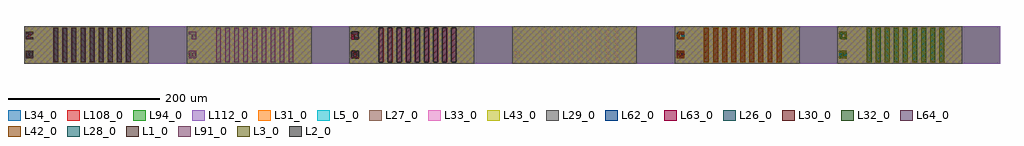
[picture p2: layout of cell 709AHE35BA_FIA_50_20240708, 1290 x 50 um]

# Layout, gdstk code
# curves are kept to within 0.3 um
from math import pi, radians
import gdstk
lib = gdstk.Library(unit=1e-6, precision=1e-09)
def R(c, l, rs):  # rectangles x0, y0, x1, y1
    for r in rs: c.add(gdstk.rectangle(r[:2], r[2:], *l))
def A(c, l, x, y, w, h, nx, ny, dx, dy):  # array of equal rectangles
    R(c, l, [(x+i*dx, y+j*dy, x+i*dx+w, y+j*dy+h) for i in range(nx) for j in range(ny)])
def P(c, l, *ps):  # polygons
    for p in ps: c.add(gdstk.Polygon(p, *l))
L1_0 = (1, 0)
L2_0 = (2, 0)
L3_0 = (3, 0)
L5_0 = (5, 0)
L26_0 = (26, 0)
L27_0 = (27, 0)
L28_0 = (28, 0)
L29_0 = (29, 0)
L30_0 = (30, 0)
L31_0 = (31, 0)
L32_0 = (32, 0)
L33_0 = (33, 0)
L34_0 = (34, 0)
L42_0 = (42, 0)
L43_0 = (43, 0)
L62_0 = (62, 0)
L63_0 = (63, 0)
L64_0 = (64, 0)
L91_0 = (91, 0)
L94_0 = (94, 0)
L108_0 = (108, 0)
L112_0 = (112, 0)

fia_150_50_6_0_45_0_t_1_ = lib.new_cell('FIA_150_50_6_0_45_0_T_1_T')
A(fia_150_50_6_0_45_0_t_1_, L1_0, 39, 2.5, 6, 45, 9, 1, 12, 0)
R(fia_150_50_6_0_45_0_t_1_, L5_0, [(15,0,165,50)])
R(fia_150_50_6_0_45_0_t_1_, L27_0, [(15,0,165,50)])
R(fia_150_50_6_0_45_0_t_1_, L29_0, [(15,0,165,50)])
R(fia_150_50_6_0_45_0_t_1_, L31_0, [(15,0,165,50)])
R(fia_150_50_6_0_45_0_t_1_, L33_0, [(15,0,165,50)])
R(fia_150_50_6_0_45_0_t_1_, L34_0, [(15,0,215,50)])
R(fia_150_50_6_0_45_0_t_1_, L43_0, [(15,0,165,50)])
R(fia_150_50_6_0_45_0_t_1_, L94_0, [(15,0,215,50)])
R(fia_150_50_6_0_45_0_t_1_, L108_0, [(15,0,215,50)])
R(fia_150_50_6_0_45_0_t_1_, L112_0, [(15,0,215,50)])

c_fia_150_50_6_0_45_0_t_1_ = lib.new_cell('FIA_150_50_6_0_45_0_T_1_name')
P(c_fia_150_50_6_0_45_0_t_1_, L1_0, [(10,8.5),(15,2.5),(17.5,2.5),(17.5,12.5),(15,12.5),(15,6.5),(10,12.5),(7.5,12.5),(7.5,2.5),(10,2.5)],
  [(41.5,2.5),(42.5,3.5),(42.5,6.5),(41.5,7.5),(42.5,8.5),(42.5,11.5),(41.5,12.5),(32.5,12.5),(32.5,8.5),(35,8.5),(35,10.5),(40,10.5),(40,8.5),(32.5,8.5),(32.5,4.5),(35,4.5),(35,6.5),(40,6.5),(40,4.5),(32.5,4.5),(32.5,2.5)])
R(c_fia_150_50_6_0_45_0_t_1_, L5_0, [(0,0,50,15)])
R(c_fia_150_50_6_0_45_0_t_1_, L27_0, [(0,0,50,15)])
R(c_fia_150_50_6_0_45_0_t_1_, L29_0, [(0,0,50,15)])
R(c_fia_150_50_6_0_45_0_t_1_, L31_0, [(0,0,50,15)])
R(c_fia_150_50_6_0_45_0_t_1_, L33_0, [(0,0,50,15)])
R(c_fia_150_50_6_0_45_0_t_1_, L34_0, [(0,0,50,15)])
R(c_fia_150_50_6_0_45_0_t_1_, L43_0, [(0,0,50,15)])
R(c_fia_150_50_6_0_45_0_t_1_, L94_0, [(0,0,50,15)])
R(c_fia_150_50_6_0_45_0_t_1_, L108_0, [(0,0,50,15)])
R(c_fia_150_50_6_0_45_0_t_1_, L112_0, [(0,0,50,15)])

fia_150_50_6_6_45_0_t_62 = lib.new_cell('FIA_150_50_6_6_45_0_T_62_T')
R(fia_150_50_6_6_45_0_t_62, L5_0, [(15,0,165,50)])
R(fia_150_50_6_6_45_0_t_62, L27_0, [(15,0,165,50)])
R(fia_150_50_6_6_45_0_t_62, L29_0, [(15,0,165,50)])
R(fia_150_50_6_6_45_0_t_62, L31_0, [(15,0,165,50)])
R(fia_150_50_6_6_45_0_t_62, L33_0, [(15,0,165,50)])
R(fia_150_50_6_6_45_0_t_62, L34_0, [(15,0,215,50)])
R(fia_150_50_6_6_45_0_t_62, L43_0, [(15,0,165,50)])
A(fia_150_50_6_6_45_0_t_62, L62_0, 38.7, 2.5, 6.6, 45, 9, 1, 12, 0)
R(fia_150_50_6_6_45_0_t_62, L94_0, [(15,0,215,50)])
R(fia_150_50_6_6_45_0_t_62, L108_0, [(15,0,215,50)])
R(fia_150_50_6_6_45_0_t_62, L112_0, [(15,0,215,50)])

c_fia_150_50_6_6_45_0_t_62 = lib.new_cell('FIA_150_50_6_6_45_0_T_62_name')
R(c_fia_150_50_6_6_45_0_t_62, L5_0, [(0,0,50,15)])
R(c_fia_150_50_6_6_45_0_t_62, L27_0, [(0,0,50,15)])
R(c_fia_150_50_6_6_45_0_t_62, L29_0, [(0,0,50,15)])
R(c_fia_150_50_6_6_45_0_t_62, L31_0, [(0,0,50,15)])
R(c_fia_150_50_6_6_45_0_t_62, L33_0, [(0,0,50,15)])
R(c_fia_150_50_6_6_45_0_t_62, L34_0, [(0,0,50,15)])
R(c_fia_150_50_6_6_45_0_t_62, L43_0, [(0,0,50,15)])
P(c_fia_150_50_6_6_45_0_t_62, L62_0, [(17.5,12.5),(14.5,12.5),(14.5,5.5),(10.5,5.5),(10.5,12.5),(7.5,12.5),(7.5,2.5),(17.5,2.5)],
  [(42.5,5),(35.5,5),(35.5,6.3),(42.5,6.3),(42.5,12.5),(32.5,12.5),(32.5,10),(39.5,10),(39.5,8.8),(32.5,8.8),(32.5,2.5),(42.5,2.5)])
R(c_fia_150_50_6_6_45_0_t_62, L94_0, [(0,0,50,15)])
R(c_fia_150_50_6_6_45_0_t_62, L108_0, [(0,0,50,15)])
R(c_fia_150_50_6_6_45_0_t_62, L112_0, [(0,0,50,15)])

fia_150_50_6_6_45_0_t_64 = lib.new_cell('FIA_150_50_6_6_45_0_T_64_T')
R(fia_150_50_6_6_45_0_t_64, L5_0, [(15,0,165,50)])
R(fia_150_50_6_6_45_0_t_64, L27_0, [(15,0,165,50)])
R(fia_150_50_6_6_45_0_t_64, L29_0, [(15,0,165,50)])
R(fia_150_50_6_6_45_0_t_64, L31_0, [(15,0,165,50)])
R(fia_150_50_6_6_45_0_t_64, L33_0, [(15,0,165,50)])
R(fia_150_50_6_6_45_0_t_64, L34_0, [(15,0,215,50)])
R(fia_150_50_6_6_45_0_t_64, L43_0, [(15,0,165,50)])
A(fia_150_50_6_6_45_0_t_64, L64_0, 38.7, 2.5, 6.6, 45, 9, 1, 12, 0)
R(fia_150_50_6_6_45_0_t_64, L94_0, [(15,0,215,50)])
R(fia_150_50_6_6_45_0_t_64, L108_0, [(15,0,215,50)])
R(fia_150_50_6_6_45_0_t_64, L112_0, [(15,0,215,50)])

c_fia_150_50_6_6_45_0_t_64 = lib.new_cell('FIA_150_50_6_6_45_0_T_64_name')
R(c_fia_150_50_6_6_45_0_t_64, L5_0, [(0,0,50,15)])
R(c_fia_150_50_6_6_45_0_t_64, L27_0, [(0,0,50,15)])
R(c_fia_150_50_6_6_45_0_t_64, L29_0, [(0,0,50,15)])
R(c_fia_150_50_6_6_45_0_t_64, L31_0, [(0,0,50,15)])
R(c_fia_150_50_6_6_45_0_t_64, L33_0, [(0,0,50,15)])
R(c_fia_150_50_6_6_45_0_t_64, L34_0, [(0,0,50,15)])
R(c_fia_150_50_6_6_45_0_t_64, L43_0, [(0,0,50,15)])
P(c_fia_150_50_6_6_45_0_t_64, L64_0, [(17.5,12.5),(14.5,12.5),(14.5,5.5),(10.5,5.5),(10.5,12.5),(7.5,12.5),(7.5,2.5),(17.5,2.5)],
  [(42.5,12.5),(39.5,12.5),(39.5,8.5),(35.5,8.5),(35.5,12.5),(32.5,12.5),(32.5,5.5),(39.5,5.5),(39.5,2.5),(42.5,2.5)])
R(c_fia_150_50_6_6_45_0_t_64, L94_0, [(0,0,50,15)])
R(c_fia_150_50_6_6_45_0_t_64, L108_0, [(0,0,50,15)])
R(c_fia_150_50_6_6_45_0_t_64, L112_0, [(0,0,50,15)])

fia_150_50_6_0_45_0_t_91 = lib.new_cell('FIA_150_50_6_0_45_0_T_91_T')
R(fia_150_50_6_0_45_0_t_91, L5_0, [(15,0,165,50)])
R(fia_150_50_6_0_45_0_t_91, L29_0, [(15,0,165,50)])
R(fia_150_50_6_0_45_0_t_91, L31_0, [(15,0,165,50)])
R(fia_150_50_6_0_45_0_t_91, L34_0, [(15,0,215,50)])
R(fia_150_50_6_0_45_0_t_91, L43_0, [(15,0,165,50)])
A(fia_150_50_6_0_45_0_t_91, L91_0, 39, 2.5, 6, 45, 9, 1, 12, 0)
R(fia_150_50_6_0_45_0_t_91, L94_0, [(15,0,215,50)])
R(fia_150_50_6_0_45_0_t_91, L108_0, [(15,0,215,50)])
R(fia_150_50_6_0_45_0_t_91, L112_0, [(15,0,215,50)])

c_fia_150_50_6_0_45_0_t_91 = lib.new_cell('FIA_150_50_6_0_45_0_T_91_name')
R(c_fia_150_50_6_0_45_0_t_91, L5_0, [(0,0,50,15)])
R(c_fia_150_50_6_0_45_0_t_91, L29_0, [(0,0,50,15)])
R(c_fia_150_50_6_0_45_0_t_91, L31_0, [(0,0,50,15)])
R(c_fia_150_50_6_0_45_0_t_91, L34_0, [(0,0,50,15)])
R(c_fia_150_50_6_0_45_0_t_91, L43_0, [(0,0,50,15)])
P(c_fia_150_50_6_0_45_0_t_91, L91_0, [(10.5,2.5),(10.5,6.5),(17.5,6.5),(17.5,12.5),(7.5,12.5),(7.5,9),(10.5,9),(10.5,10),(15,10),(15,9),(10.5,9),(7.5,9),(7.5,2.5)],
  [(41.5,2.5),(42.5,3.5),(42.5,6.5),(41.5,7.5),(42.5,8.5),(42.5,11.5),(41.5,12.5),(32.5,12.5),(32.5,8.5),(35,8.5),(35,10.5),(40,10.5),(40,8.5),(32.5,8.5),(32.5,4.5),(35,4.5),(35,6.5),(40,6.5),(40,4.5),(32.5,4.5),(32.5,2.5)])
R(c_fia_150_50_6_0_45_0_t_91, L94_0, [(0,0,50,15)])
R(c_fia_150_50_6_0_45_0_t_91, L108_0, [(0,0,50,15)])
R(c_fia_150_50_6_0_45_0_t_91, L112_0, [(0,0,50,15)])

fia_150_50_6_0_45_0_m_27 = lib.new_cell('FIA_150_50_6_0_45_0_M_27_M')
R(fia_150_50_6_0_45_0_m_27, L5_0, [(15,0,165,50)])
P(fia_150_50_6_0_45_0_m_27, L27_0, [(165,50),(15,50),(15,2.5),(39,2.5),(39,47.5),(45,47.5),(45,2.5),(51,2.5),(51,47.5),(57,47.5),(57,2.5),(63,2.5),(63,47.5),(69,47.5),(69,2.5),(75,2.5),(75,47.5),(81,47.5),(81,2.5),(87,2.5),(87,47.5),(93,47.5),(93,2.5),(99,2.5),(99,47.5),(105,47.5),(105,2.5),(111,2.5),(111,47.5),(117,47.5),(117,2.5),(123,2.5),(123,47.5),(129,47.5),(129,2.5),(135,2.5),(135,47.5),(141,47.5),(141,2.5),(135,2.5),(129,2.5),(123,2.5),(117,2.5),(111,2.5),(105,2.5),(99,2.5),(93,2.5),(87,2.5),(81,2.5),(75,2.5),(69,2.5),(63,2.5),(57,2.5),(51,2.5),(45,2.5),(39,2.5),(15,2.5),(15,0),(165,0)])
R(fia_150_50_6_0_45_0_m_27, L29_0, [(15,0,165,50)])
R(fia_150_50_6_0_45_0_m_27, L31_0, [(15,0,165,50)])
R(fia_150_50_6_0_45_0_m_27, L34_0, [(15,0,215,50)])
R(fia_150_50_6_0_45_0_m_27, L43_0, [(15,0,165,50)])
R(fia_150_50_6_0_45_0_m_27, L94_0, [(15,0,215,50)])
R(fia_150_50_6_0_45_0_m_27, L108_0, [(15,0,215,50)])
R(fia_150_50_6_0_45_0_m_27, L112_0, [(15,0,215,50)])

c_fia_150_50_6_0_45_0_m_27 = lib.new_cell('FIA_150_50_6_0_45_0_M_27_name')
R(c_fia_150_50_6_0_45_0_m_27, L5_0, [(0,0,50,15)])
P(c_fia_150_50_6_0_45_0_m_27, L27_0, [(50,15),(0,15),(0,2.5),(7.5,2.5),(7.5,12.5),(10,12.5),(12.5,10),(15,12.5),(17.5,12.5),(17.5,2.5),(33.5,2.5),(33.5,5),(36.5,5),(36.5,9.5),(34.5,9.5),(34.5,11.5),(36.5,11.5),(36.5,12.5),(39.5,12.5),(39.5,5),(41.5,5),(41.5,2.5),(15,2.5),(15,9),(12.5,6.5),(10,9),(10,2.5),(0,2.5),(0,0),(50,0)])
R(c_fia_150_50_6_0_45_0_m_27, L29_0, [(0,0,50,15)])
R(c_fia_150_50_6_0_45_0_m_27, L31_0, [(0,0,50,15)])
R(c_fia_150_50_6_0_45_0_m_27, L34_0, [(0,0,50,15)])
R(c_fia_150_50_6_0_45_0_m_27, L43_0, [(0,0,50,15)])
R(c_fia_150_50_6_0_45_0_m_27, L94_0, [(0,0,50,15)])
R(c_fia_150_50_6_0_45_0_m_27, L108_0, [(0,0,50,15)])
R(c_fia_150_50_6_0_45_0_m_27, L112_0, [(0,0,50,15)])

fia_150_50_6_0_45_0_m_33 = lib.new_cell('FIA_150_50_6_0_45_0_M_33_M')
R(fia_150_50_6_0_45_0_m_33, L5_0, [(15,0,165,50)])
R(fia_150_50_6_0_45_0_m_33, L29_0, [(15,0,165,50)])
R(fia_150_50_6_0_45_0_m_33, L31_0, [(15,0,165,50)])
P(fia_150_50_6_0_45_0_m_33, L33_0, [(165,50),(15,50),(15,2.5),(39,2.5),(39,47.5),(45,47.5),(45,2.5),(51,2.5),(51,47.5),(57,47.5),(57,2.5),(63,2.5),(63,47.5),(69,47.5),(69,2.5),(75,2.5),(75,47.5),(81,47.5),(81,2.5),(87,2.5),(87,47.5),(93,47.5),(93,2.5),(99,2.5),(99,47.5),(105,47.5),(105,2.5),(111,2.5),(111,47.5),(117,47.5),(117,2.5),(123,2.5),(123,47.5),(129,47.5),(129,2.5),(135,2.5),(135,47.5),(141,47.5),(141,2.5),(135,2.5),(129,2.5),(123,2.5),(117,2.5),(111,2.5),(105,2.5),(99,2.5),(93,2.5),(87,2.5),(81,2.5),(75,2.5),(69,2.5),(63,2.5),(57,2.5),(51,2.5),(45,2.5),(39,2.5),(15,2.5),(15,0),(165,0)])
R(fia_150_50_6_0_45_0_m_33, L34_0, [(15,0,215,50)])
R(fia_150_50_6_0_45_0_m_33, L43_0, [(15,0,165,50)])
R(fia_150_50_6_0_45_0_m_33, L94_0, [(15,0,215,50)])
R(fia_150_50_6_0_45_0_m_33, L108_0, [(15,0,215,50)])
R(fia_150_50_6_0_45_0_m_33, L112_0, [(15,0,215,50)])

c_fia_150_50_6_0_45_0_m_33 = lib.new_cell('FIA_150_50_6_0_45_0_M_33_name')
R(c_fia_150_50_6_0_45_0_m_33, L5_0, [(0,0,50,15)])
R(c_fia_150_50_6_0_45_0_m_33, L29_0, [(0,0,50,15)])
R(c_fia_150_50_6_0_45_0_m_33, L31_0, [(0,0,50,15)])
P(c_fia_150_50_6_0_45_0_m_33, L33_0, [(50,15),(0,15),(0,2.5),(7.5,2.5),(7.5,12.5),(10,12.5),(12.5,10),(15,12.5),(17.5,12.5),(17.5,5.5),(32.5,5.5),(32.5,12.5),(35.5,12.5),(35.5,8.5),(39.5,8.5),(39.5,12.5),(42.5,12.5),(42.5,2.5),(39.5,2.5),(39.5,5.5),(17.5,5.5),(17.5,2.5),(15,2.5),(15,9),(12.5,6.5),(10,9),(10,2.5),(0,2.5),(0,0),(50,0)])
R(c_fia_150_50_6_0_45_0_m_33, L34_0, [(0,0,50,15)])
R(c_fia_150_50_6_0_45_0_m_33, L43_0, [(0,0,50,15)])
R(c_fia_150_50_6_0_45_0_m_33, L94_0, [(0,0,50,15)])
R(c_fia_150_50_6_0_45_0_m_33, L108_0, [(0,0,50,15)])
R(c_fia_150_50_6_0_45_0_m_33, L112_0, [(0,0,50,15)])

fia_150_50_6_0_45_0_t_2_ = lib.new_cell('FIA_150_50_6_0_45_0_T_2_T')
A(fia_150_50_6_0_45_0_t_2_, L2_0, 39, 2.5, 6, 45, 9, 1, 12, 0)
R(fia_150_50_6_0_45_0_t_2_, L5_0, [(15,0,165,50)])
R(fia_150_50_6_0_45_0_t_2_, L27_0, [(15,0,165,50)])
R(fia_150_50_6_0_45_0_t_2_, L31_0, [(15,0,165,50)])
R(fia_150_50_6_0_45_0_t_2_, L33_0, [(15,0,165,50)])
R(fia_150_50_6_0_45_0_t_2_, L34_0, [(15,0,215,50)])
R(fia_150_50_6_0_45_0_t_2_, L94_0, [(15,0,215,50)])
R(fia_150_50_6_0_45_0_t_2_, L108_0, [(15,0,215,50)])
R(fia_150_50_6_0_45_0_t_2_, L112_0, [(15,0,215,50)])

c_fia_150_50_6_0_45_0_t_2_ = lib.new_cell('FIA_150_50_6_0_45_0_T_2_name')
P(c_fia_150_50_6_0_45_0_t_2_, L2_0, [(10.5,2.5),(10.5,6.5),(17.5,6.5),(17.5,12.5),(7.5,12.5),(7.5,9),(10.5,9),(10.5,10),(15,10),(15,9),(10.5,9),(7.5,9),(7.5,2.5)],
  [(40.5,2.5),(42.5,4.5),(42.5,10.5),(40.5,12.5),(32.5,12.5),(32.5,5),(35,5),(35,10),(39,10),(40,9),(40,6),(39,5),(32.5,5),(32.5,2.5)])
R(c_fia_150_50_6_0_45_0_t_2_, L5_0, [(0,0,50,15)])
R(c_fia_150_50_6_0_45_0_t_2_, L27_0, [(0,0,50,15)])
R(c_fia_150_50_6_0_45_0_t_2_, L31_0, [(0,0,50,15)])
R(c_fia_150_50_6_0_45_0_t_2_, L33_0, [(0,0,50,15)])
R(c_fia_150_50_6_0_45_0_t_2_, L34_0, [(0,0,50,15)])
R(c_fia_150_50_6_0_45_0_t_2_, L94_0, [(0,0,50,15)])
R(c_fia_150_50_6_0_45_0_t_2_, L108_0, [(0,0,50,15)])
R(c_fia_150_50_6_0_45_0_t_2_, L112_0, [(0,0,50,15)])

fia_150_50_6_0_45_0_m_29 = lib.new_cell('FIA_150_50_6_0_45_0_M_29_M')
R(fia_150_50_6_0_45_0_m_29, L5_0, [(15,0,165,50)])
R(fia_150_50_6_0_45_0_m_29, L27_0, [(15,0,165,50)])
P(fia_150_50_6_0_45_0_m_29, L29_0, [(165,50),(15,50),(15,2.5),(39,2.5),(39,47.5),(45,47.5),(45,2.5),(51,2.5),(51,47.5),(57,47.5),(57,2.5),(63,2.5),(63,47.5),(69,47.5),(69,2.5),(75,2.5),(75,47.5),(81,47.5),(81,2.5),(87,2.5),(87,47.5),(93,47.5),(93,2.5),(99,2.5),(99,47.5),(105,47.5),(105,2.5),(111,2.5),(111,47.5),(117,47.5),(117,2.5),(123,2.5),(123,47.5),(129,47.5),(129,2.5),(135,2.5),(135,47.5),(141,47.5),(141,2.5),(135,2.5),(129,2.5),(123,2.5),(117,2.5),(111,2.5),(105,2.5),(99,2.5),(93,2.5),(87,2.5),(81,2.5),(75,2.5),(69,2.5),(63,2.5),(57,2.5),(51,2.5),(45,2.5),(39,2.5),(15,2.5),(15,0),(165,0)])
R(fia_150_50_6_0_45_0_m_29, L31_0, [(15,0,165,50)])
R(fia_150_50_6_0_45_0_m_29, L33_0, [(15,0,165,50)])
R(fia_150_50_6_0_45_0_m_29, L34_0, [(15,0,215,50)])
R(fia_150_50_6_0_45_0_m_29, L94_0, [(15,0,215,50)])
R(fia_150_50_6_0_45_0_m_29, L108_0, [(15,0,215,50)])
R(fia_150_50_6_0_45_0_m_29, L112_0, [(15,0,215,50)])

c_fia_150_50_6_0_45_0_m_29 = lib.new_cell('FIA_150_50_6_0_45_0_M_29_name')
R(c_fia_150_50_6_0_45_0_m_29, L5_0, [(0,0,50,15)])
R(c_fia_150_50_6_0_45_0_m_29, L27_0, [(0,0,50,15)])
P(c_fia_150_50_6_0_45_0_m_29, L29_0, [(50,15),(0,15),(0,2.5),(7.5,2.5),(7.5,12.5),(10,12.5),(12.5,10),(15,12.5),(17.5,12.5),(17.5,2.5),(32.5,2.5),(32.5,8.8),(39.5,8.8),(39.5,10),(32.5,10),(32.5,12.5),(42.5,12.5),(42.5,6.3),(35.5,6.3),(35.5,5),(42.5,5),(42.5,2.5),(15,2.5),(15,9),(12.5,6.5),(10,9),(10,2.5),(0,2.5),(0,0),(50,0)])
R(c_fia_150_50_6_0_45_0_m_29, L31_0, [(0,0,50,15)])
R(c_fia_150_50_6_0_45_0_m_29, L33_0, [(0,0,50,15)])
R(c_fia_150_50_6_0_45_0_m_29, L34_0, [(0,0,50,15)])
R(c_fia_150_50_6_0_45_0_m_29, L94_0, [(0,0,50,15)])
R(c_fia_150_50_6_0_45_0_m_29, L108_0, [(0,0,50,15)])
R(c_fia_150_50_6_0_45_0_m_29, L112_0, [(0,0,50,15)])

fia_150_50_6_6_45_0_t_63 = lib.new_cell('FIA_150_50_6_6_45_0_T_63_T')
R(fia_150_50_6_6_45_0_t_63, L5_0, [(15,0,165,50)])
R(fia_150_50_6_6_45_0_t_63, L27_0, [(15,0,165,50)])
R(fia_150_50_6_6_45_0_t_63, L31_0, [(15,0,165,50)])
R(fia_150_50_6_6_45_0_t_63, L33_0, [(15,0,165,50)])
R(fia_150_50_6_6_45_0_t_63, L34_0, [(15,0,215,50)])
A(fia_150_50_6_6_45_0_t_63, L63_0, 38.7, 2.5, 6.6, 45, 9, 1, 12, 0)
R(fia_150_50_6_6_45_0_t_63, L94_0, [(15,0,215,50)])
R(fia_150_50_6_6_45_0_t_63, L108_0, [(15,0,215,50)])
R(fia_150_50_6_6_45_0_t_63, L112_0, [(15,0,215,50)])

c_fia_150_50_6_6_45_0_t_63 = lib.new_cell('FIA_150_50_6_6_45_0_T_63_name')
R(c_fia_150_50_6_6_45_0_t_63, L5_0, [(0,0,50,15)])
R(c_fia_150_50_6_6_45_0_t_63, L27_0, [(0,0,50,15)])
R(c_fia_150_50_6_6_45_0_t_63, L31_0, [(0,0,50,15)])
R(c_fia_150_50_6_6_45_0_t_63, L33_0, [(0,0,50,15)])
R(c_fia_150_50_6_6_45_0_t_63, L34_0, [(0,0,50,15)])
P(c_fia_150_50_6_6_45_0_t_63, L63_0, [(17.5,12.5),(14.5,12.5),(14.5,5.5),(10.5,5.5),(10.5,12.5),(7.5,12.5),(7.5,2.5),(17.5,2.5)],
  [(42.5,12.5),(32.5,12.5),(32.5,10),(39.5,10),(39.5,8.8),(32.5,8.8),(32.5,6.3),(39.5,6.3),(39.5,5),(32.5,5),(32.5,2.5),(42.5,2.5)])
R(c_fia_150_50_6_6_45_0_t_63, L94_0, [(0,0,50,15)])
R(c_fia_150_50_6_6_45_0_t_63, L108_0, [(0,0,50,15)])
R(c_fia_150_50_6_6_45_0_t_63, L112_0, [(0,0,50,15)])

fia_150_50_6_0_45_0_m_43 = lib.new_cell('FIA_150_50_6_0_45_0_M_43_M')
R(fia_150_50_6_0_45_0_m_43, L5_0, [(15,0,165,50)])
R(fia_150_50_6_0_45_0_m_43, L27_0, [(15,0,165,50)])
R(fia_150_50_6_0_45_0_m_43, L31_0, [(15,0,165,50)])
R(fia_150_50_6_0_45_0_m_43, L33_0, [(15,0,165,50)])
R(fia_150_50_6_0_45_0_m_43, L34_0, [(15,0,215,50)])
P(fia_150_50_6_0_45_0_m_43, L43_0, [(165,50),(15,50),(15,2.5),(39,2.5),(39,47.5),(45,47.5),(45,2.5),(51,2.5),(51,47.5),(57,47.5),(57,2.5),(63,2.5),(63,47.5),(69,47.5),(69,2.5),(75,2.5),(75,47.5),(81,47.5),(81,2.5),(87,2.5),(87,47.5),(93,47.5),(93,2.5),(99,2.5),(99,47.5),(105,47.5),(105,2.5),(111,2.5),(111,47.5),(117,47.5),(117,2.5),(123,2.5),(123,47.5),(129,47.5),(129,2.5),(135,2.5),(135,47.5),(141,47.5),(141,2.5),(135,2.5),(129,2.5),(123,2.5),(117,2.5),(111,2.5),(105,2.5),(99,2.5),(93,2.5),(87,2.5),(81,2.5),(75,2.5),(69,2.5),(63,2.5),(57,2.5),(51,2.5),(45,2.5),(39,2.5),(15,2.5),(15,0),(165,0)])
R(fia_150_50_6_0_45_0_m_43, L94_0, [(15,0,215,50)])
R(fia_150_50_6_0_45_0_m_43, L108_0, [(15,0,215,50)])
R(fia_150_50_6_0_45_0_m_43, L112_0, [(15,0,215,50)])

c_fia_150_50_6_0_45_0_m_43 = lib.new_cell('FIA_150_50_6_0_45_0_M_43_name')
R(c_fia_150_50_6_0_45_0_m_43, L5_0, [(0,0,50,15)])
R(c_fia_150_50_6_0_45_0_m_43, L27_0, [(0,0,50,15)])
R(c_fia_150_50_6_0_45_0_m_43, L31_0, [(0,0,50,15)])
R(c_fia_150_50_6_0_45_0_m_43, L33_0, [(0,0,50,15)])
R(c_fia_150_50_6_0_45_0_m_43, L34_0, [(0,0,50,15)])
P(c_fia_150_50_6_0_45_0_m_43, L43_0, [(50,15),(0,15),(0,2.5),(7.5,2.5),(7.5,12.5),(10,12.5),(12.5,10),(15,12.5),(17.5,12.5),(17.5,2.5),(32.5,2.5),(32.5,4.8),(39.5,4.8),(39.5,6.2),(32.5,6.2),(32.5,12.5),(42.5,12.5),(42.5,10.2),(35.5,10.2),(35.5,8.8),(42.5,8.8),(42.5,2.5),(15,2.5),(15,9),(12.5,6.5),(10,9),(10,2.5),(0,2.5),(0,0),(50,0)])
R(c_fia_150_50_6_0_45_0_m_43, L94_0, [(0,0,50,15)])
R(c_fia_150_50_6_0_45_0_m_43, L108_0, [(0,0,50,15)])
R(c_fia_150_50_6_0_45_0_m_43, L112_0, [(0,0,50,15)])

fia_150_50_6_0_45_0_m_5_ = lib.new_cell('FIA_150_50_6_0_45_0_M_5_M')
P(fia_150_50_6_0_45_0_m_5_, L5_0, [(165,50),(15,50),(15,2.5),(39,2.5),(39,47.5),(45,47.5),(45,2.5),(51,2.5),(51,47.5),(57,47.5),(57,2.5),(63,2.5),(63,47.5),(69,47.5),(69,2.5),(75,2.5),(75,47.5),(81,47.5),(81,2.5),(87,2.5),(87,47.5),(93,47.5),(93,2.5),(99,2.5),(99,47.5),(105,47.5),(105,2.5),(111,2.5),(111,47.5),(117,47.5),(117,2.5),(123,2.5),(123,47.5),(129,47.5),(129,2.5),(135,2.5),(135,47.5),(141,47.5),(141,2.5),(135,2.5),(129,2.5),(123,2.5),(117,2.5),(111,2.5),(105,2.5),(99,2.5),(93,2.5),(87,2.5),(81,2.5),(75,2.5),(69,2.5),(63,2.5),(57,2.5),(51,2.5),(45,2.5),(39,2.5),(15,2.5),(15,0),(165,0)])
R(fia_150_50_6_0_45_0_m_5_, L27_0, [(15,0,165,50)])
R(fia_150_50_6_0_45_0_m_5_, L29_0, [(15,0,165,50)])
R(fia_150_50_6_0_45_0_m_5_, L33_0, [(15,0,165,50)])
R(fia_150_50_6_0_45_0_m_5_, L34_0, [(15,0,215,50)])
R(fia_150_50_6_0_45_0_m_5_, L43_0, [(15,0,165,50)])
R(fia_150_50_6_0_45_0_m_5_, L94_0, [(15,0,215,50)])
R(fia_150_50_6_0_45_0_m_5_, L108_0, [(15,0,215,50)])
R(fia_150_50_6_0_45_0_m_5_, L112_0, [(15,0,215,50)])

c_fia_150_50_6_0_45_0_m_5_ = lib.new_cell('FIA_150_50_6_0_45_0_M_5_name')
R(c_fia_150_50_6_0_45_0_m_5_, L5_0, [(35.5,5.5,39.5,9.5)])
P(c_fia_150_50_6_0_45_0_m_5_, L5_0, [(50,15),(0,15),(0,2.5),(7.5,2.5),(7.5,12.5),(10,12.5),(12.5,10),(15,12.5),(17.5,12.5),(17.5,2.5),(32.5,2.5),(32.5,12.5),(42.5,12.5),(42.5,2.5),(15,2.5),(15,9),(12.5,6.5),(10,9),(10,2.5),(0,2.5),(0,0),(50,0)])
R(c_fia_150_50_6_0_45_0_m_5_, L27_0, [(0,0,50,15)])
R(c_fia_150_50_6_0_45_0_m_5_, L29_0, [(0,0,50,15)])
R(c_fia_150_50_6_0_45_0_m_5_, L33_0, [(0,0,50,15)])
R(c_fia_150_50_6_0_45_0_m_5_, L34_0, [(0,0,50,15)])
R(c_fia_150_50_6_0_45_0_m_5_, L43_0, [(0,0,50,15)])
R(c_fia_150_50_6_0_45_0_m_5_, L94_0, [(0,0,50,15)])
R(c_fia_150_50_6_0_45_0_m_5_, L108_0, [(0,0,50,15)])
R(c_fia_150_50_6_0_45_0_m_5_, L112_0, [(0,0,50,15)])

fia_150_50_6_0_45_0_m_31 = lib.new_cell('FIA_150_50_6_0_45_0_M_31_M')
R(fia_150_50_6_0_45_0_m_31, L27_0, [(15,0,165,50)])
R(fia_150_50_6_0_45_0_m_31, L29_0, [(15,0,165,50)])
P(fia_150_50_6_0_45_0_m_31, L31_0, [(165,50),(15,50),(15,2.5),(39,2.5),(39,47.5),(45,47.5),(45,2.5),(51,2.5),(51,47.5),(57,47.5),(57,2.5),(63,2.5),(63,47.5),(69,47.5),(69,2.5),(75,2.5),(75,47.5),(81,47.5),(81,2.5),(87,2.5),(87,47.5),(93,47.5),(93,2.5),(99,2.5),(99,47.5),(105,47.5),(105,2.5),(111,2.5),(111,47.5),(117,47.5),(117,2.5),(123,2.5),(123,47.5),(129,47.5),(129,2.5),(135,2.5),(135,47.5),(141,47.5),(141,2.5),(135,2.5),(129,2.5),(123,2.5),(117,2.5),(111,2.5),(105,2.5),(99,2.5),(93,2.5),(87,2.5),(81,2.5),(75,2.5),(69,2.5),(63,2.5),(57,2.5),(51,2.5),(45,2.5),(39,2.5),(15,2.5),(15,0),(165,0)])
R(fia_150_50_6_0_45_0_m_31, L33_0, [(15,0,165,50)])
R(fia_150_50_6_0_45_0_m_31, L34_0, [(15,0,215,50)])
R(fia_150_50_6_0_45_0_m_31, L43_0, [(15,0,165,50)])
R(fia_150_50_6_0_45_0_m_31, L94_0, [(15,0,215,50)])
R(fia_150_50_6_0_45_0_m_31, L108_0, [(15,0,215,50)])
R(fia_150_50_6_0_45_0_m_31, L112_0, [(15,0,215,50)])

c_fia_150_50_6_0_45_0_m_31 = lib.new_cell('FIA_150_50_6_0_45_0_M_31_name')
R(c_fia_150_50_6_0_45_0_m_31, L27_0, [(0,0,50,15)])
R(c_fia_150_50_6_0_45_0_m_31, L29_0, [(0,0,50,15)])
P(c_fia_150_50_6_0_45_0_m_31, L31_0, [(50,15),(0,15),(0,2.5),(7.5,2.5),(7.5,12.5),(10,12.5),(12.5,10),(15,12.5),(17.5,12.5),(17.5,2.5),(32.5,2.5),(32.5,5),(39.5,5),(39.5,6.3),(32.5,6.3),(32.5,8.8),(39.5,8.8),(39.5,10),(32.5,10),(32.5,12.5),(42.5,12.5),(42.5,2.5),(15,2.5),(15,9),(12.5,6.5),(10,9),(10,2.5),(0,2.5),(0,0),(50,0)])
R(c_fia_150_50_6_0_45_0_m_31, L33_0, [(0,0,50,15)])
R(c_fia_150_50_6_0_45_0_m_31, L34_0, [(0,0,50,15)])
R(c_fia_150_50_6_0_45_0_m_31, L43_0, [(0,0,50,15)])
R(c_fia_150_50_6_0_45_0_m_31, L94_0, [(0,0,50,15)])
R(c_fia_150_50_6_0_45_0_m_31, L108_0, [(0,0,50,15)])
R(c_fia_150_50_6_0_45_0_m_31, L112_0, [(0,0,50,15)])

fia_150_50_6_6_45_0_t_26 = lib.new_cell('FIA_150_50_6_6_45_0_T_26_T')
R(fia_150_50_6_6_45_0_t_26, L5_0, [(15,0,165,50)])
A(fia_150_50_6_6_45_0_t_26, L26_0, 38.7, 2.5, 6.6, 45, 9, 1, 12, 0)
R(fia_150_50_6_6_45_0_t_26, L27_0, [(15,0,165,50)])
R(fia_150_50_6_6_45_0_t_26, L29_0, [(15,0,165,50)])
R(fia_150_50_6_6_45_0_t_26, L31_0, [(15,0,165,50)])
R(fia_150_50_6_6_45_0_t_26, L33_0, [(15,0,165,50)])
R(fia_150_50_6_6_45_0_t_26, L34_0, [(15,0,215,50)])
R(fia_150_50_6_6_45_0_t_26, L43_0, [(15,0,165,50)])
R(fia_150_50_6_6_45_0_t_26, L94_0, [(15,0,215,50)])
R(fia_150_50_6_6_45_0_t_26, L108_0, [(15,0,215,50)])
R(fia_150_50_6_6_45_0_t_26, L112_0, [(15,0,215,50)])

c_fia_150_50_6_6_45_0_t_26 = lib.new_cell('FIA_150_50_6_6_45_0_T_26_name')
R(c_fia_150_50_6_6_45_0_t_26, L5_0, [(0,0,50,15)])
P(c_fia_150_50_6_6_45_0_t_26, L26_0, [(17.5,3.5),(17.5,4.5),(16.5,5.5),(11.5,5.5),(10.5,6.5),(10.5,8.5),(11.5,9.5),(16.5,9.5),(17.5,10.5),(17.5,11.5),(16.5,12.5),(9.5,12.5),(7.5,10.5),(7.5,4.5),(9.5,2.5),(16.5,2.5)],
  [(42.5,2.5),(42.5,12.5),(32.5,12.5),(32.5,5.5),(35.5,5.5),(35.5,9.5),(39.5,9.5),(39.5,5.5),(35.5,5.5),(32.5,5.5),(32.5,2.5)])
R(c_fia_150_50_6_6_45_0_t_26, L27_0, [(0,0,50,15)])
R(c_fia_150_50_6_6_45_0_t_26, L29_0, [(0,0,50,15)])
R(c_fia_150_50_6_6_45_0_t_26, L31_0, [(0,0,50,15)])
R(c_fia_150_50_6_6_45_0_t_26, L33_0, [(0,0,50,15)])
R(c_fia_150_50_6_6_45_0_t_26, L34_0, [(0,0,50,15)])
R(c_fia_150_50_6_6_45_0_t_26, L43_0, [(0,0,50,15)])
R(c_fia_150_50_6_6_45_0_t_26, L94_0, [(0,0,50,15)])
R(c_fia_150_50_6_6_45_0_t_26, L108_0, [(0,0,50,15)])
R(c_fia_150_50_6_6_45_0_t_26, L112_0, [(0,0,50,15)])

fia_150_50_6_6_45_0_t_30 = lib.new_cell('FIA_150_50_6_6_45_0_T_30_T')
R(fia_150_50_6_6_45_0_t_30, L5_0, [(15,0,165,50)])
R(fia_150_50_6_6_45_0_t_30, L27_0, [(15,0,165,50)])
R(fia_150_50_6_6_45_0_t_30, L29_0, [(15,0,165,50)])
A(fia_150_50_6_6_45_0_t_30, L30_0, 38.7, 2.5, 6.6, 45, 9, 1, 12, 0)
R(fia_150_50_6_6_45_0_t_30, L31_0, [(15,0,165,50)])
R(fia_150_50_6_6_45_0_t_30, L33_0, [(15,0,165,50)])
R(fia_150_50_6_6_45_0_t_30, L34_0, [(15,0,215,50)])
R(fia_150_50_6_6_45_0_t_30, L43_0, [(15,0,165,50)])
R(fia_150_50_6_6_45_0_t_30, L94_0, [(15,0,215,50)])
R(fia_150_50_6_6_45_0_t_30, L108_0, [(15,0,215,50)])
R(fia_150_50_6_6_45_0_t_30, L112_0, [(15,0,215,50)])

c_fia_150_50_6_6_45_0_t_30 = lib.new_cell('FIA_150_50_6_6_45_0_T_30_name')
R(c_fia_150_50_6_6_45_0_t_30, L5_0, [(0,0,50,15)])
R(c_fia_150_50_6_6_45_0_t_30, L27_0, [(0,0,50,15)])
R(c_fia_150_50_6_6_45_0_t_30, L29_0, [(0,0,50,15)])
P(c_fia_150_50_6_6_45_0_t_30, L30_0, [(17.5,5.5),(17.5,12.5),(14.5,12.5),(14.5,6.5),(10.5,6.5),(10.5,12.5),(7.5,12.5),(7.5,5.5),(11.5,2.5),(13.5,2.5)],
  [(42.5,5),(35.5,5),(35.5,6.3),(42.5,6.3),(42.5,12.5),(32.5,12.5),(32.5,10),(39.5,10),(39.5,8.8),(32.5,8.8),(32.5,2.5),(42.5,2.5)])
R(c_fia_150_50_6_6_45_0_t_30, L31_0, [(0,0,50,15)])
R(c_fia_150_50_6_6_45_0_t_30, L33_0, [(0,0,50,15)])
R(c_fia_150_50_6_6_45_0_t_30, L34_0, [(0,0,50,15)])
R(c_fia_150_50_6_6_45_0_t_30, L43_0, [(0,0,50,15)])
R(c_fia_150_50_6_6_45_0_t_30, L94_0, [(0,0,50,15)])
R(c_fia_150_50_6_6_45_0_t_30, L108_0, [(0,0,50,15)])
R(c_fia_150_50_6_6_45_0_t_30, L112_0, [(0,0,50,15)])

fia_150_50_6_6_45_0_t_42 = lib.new_cell('FIA_150_50_6_6_45_0_T_42_T')
R(fia_150_50_6_6_45_0_t_42, L5_0, [(15,0,165,50)])
R(fia_150_50_6_6_45_0_t_42, L27_0, [(15,0,165,50)])
R(fia_150_50_6_6_45_0_t_42, L29_0, [(15,0,165,50)])
R(fia_150_50_6_6_45_0_t_42, L31_0, [(15,0,165,50)])
R(fia_150_50_6_6_45_0_t_42, L33_0, [(15,0,165,50)])
R(fia_150_50_6_6_45_0_t_42, L34_0, [(15,0,215,50)])
A(fia_150_50_6_6_45_0_t_42, L42_0, 38.7, 2.5, 6.6, 45, 9, 1, 12, 0)
R(fia_150_50_6_6_45_0_t_42, L43_0, [(15,0,165,50)])
R(fia_150_50_6_6_45_0_t_42, L94_0, [(15,0,215,50)])
R(fia_150_50_6_6_45_0_t_42, L108_0, [(15,0,215,50)])
R(fia_150_50_6_6_45_0_t_42, L112_0, [(15,0,215,50)])

c_fia_150_50_6_6_45_0_t_42 = lib.new_cell('FIA_150_50_6_6_45_0_T_42_name')
R(c_fia_150_50_6_6_45_0_t_42, L5_0, [(0,0,50,15)])
R(c_fia_150_50_6_6_45_0_t_42, L27_0, [(0,0,50,15)])
R(c_fia_150_50_6_6_45_0_t_42, L29_0, [(0,0,50,15)])
R(c_fia_150_50_6_6_45_0_t_42, L31_0, [(0,0,50,15)])
R(c_fia_150_50_6_6_45_0_t_42, L33_0, [(0,0,50,15)])
R(c_fia_150_50_6_6_45_0_t_42, L34_0, [(0,0,50,15)])
P(c_fia_150_50_6_6_45_0_t_42, L42_0, [(17.5,5.5),(17.5,12.5),(14.5,12.5),(14.5,6.5),(10.5,6.5),(10.5,12.5),(7.5,12.5),(7.5,5.5),(11.5,2.5),(13.5,2.5)],
  [(42.5,12.5),(39.5,12.5),(39.5,8.5),(35.5,8.5),(35.5,12.5),(32.5,12.5),(32.5,5.5),(39.5,5.5),(39.5,2.5),(42.5,2.5)])
R(c_fia_150_50_6_6_45_0_t_42, L43_0, [(0,0,50,15)])
R(c_fia_150_50_6_6_45_0_t_42, L94_0, [(0,0,50,15)])
R(c_fia_150_50_6_6_45_0_t_42, L108_0, [(0,0,50,15)])
R(c_fia_150_50_6_6_45_0_t_42, L112_0, [(0,0,50,15)])

fia_150_50_6_0_45_0_t_3_ = lib.new_cell('FIA_150_50_6_0_45_0_T_3_T')
A(fia_150_50_6_0_45_0_t_3_, L3_0, 39, 2.5, 6, 45, 9, 1, 12, 0)
R(fia_150_50_6_0_45_0_t_3_, L5_0, [(15,0,165,50)])
R(fia_150_50_6_0_45_0_t_3_, L27_0, [(15,0,165,50)])
R(fia_150_50_6_0_45_0_t_3_, L29_0, [(15,0,165,50)])
R(fia_150_50_6_0_45_0_t_3_, L31_0, [(15,0,165,50)])
R(fia_150_50_6_0_45_0_t_3_, L33_0, [(15,0,165,50)])
R(fia_150_50_6_0_45_0_t_3_, L34_0, [(15,0,215,50)])
R(fia_150_50_6_0_45_0_t_3_, L43_0, [(15,0,165,50)])
R(fia_150_50_6_0_45_0_t_3_, L94_0, [(15,0,215,50)])
R(fia_150_50_6_0_45_0_t_3_, L108_0, [(15,0,215,50)])
R(fia_150_50_6_0_45_0_t_3_, L112_0, [(15,0,215,50)])

c_fia_150_50_6_0_45_0_t_3_ = lib.new_cell('FIA_150_50_6_0_45_0_T_3_name')
P(c_fia_150_50_6_0_45_0_t_3_, L3_0, [(15.5,2.5),(17.5,4.5),(17.5,10.5),(15.5,12.5),(7.5,12.5),(7.5,5),(10,5),(10,10),(14,10),(15,9),(15,6),(14,5),(7.5,5),(7.5,2.5)],
  [(35,8.5),(40,2.5),(42.5,2.5),(42.5,12.5),(40,12.5),(40,6.5),(35,12.5),(32.5,12.5),(32.5,2.5),(35,2.5)])
R(c_fia_150_50_6_0_45_0_t_3_, L5_0, [(0,0,50,15)])
R(c_fia_150_50_6_0_45_0_t_3_, L27_0, [(0,0,50,15)])
R(c_fia_150_50_6_0_45_0_t_3_, L29_0, [(0,0,50,15)])
R(c_fia_150_50_6_0_45_0_t_3_, L31_0, [(0,0,50,15)])
R(c_fia_150_50_6_0_45_0_t_3_, L33_0, [(0,0,50,15)])
R(c_fia_150_50_6_0_45_0_t_3_, L34_0, [(0,0,50,15)])
R(c_fia_150_50_6_0_45_0_t_3_, L43_0, [(0,0,50,15)])
R(c_fia_150_50_6_0_45_0_t_3_, L94_0, [(0,0,50,15)])
R(c_fia_150_50_6_0_45_0_t_3_, L108_0, [(0,0,50,15)])
R(c_fia_150_50_6_0_45_0_t_3_, L112_0, [(0,0,50,15)])

fia_150_50_6_6_45_0_t_28 = lib.new_cell('FIA_150_50_6_6_45_0_T_28_T')
R(fia_150_50_6_6_45_0_t_28, L5_0, [(15,0,165,50)])
R(fia_150_50_6_6_45_0_t_28, L27_0, [(15,0,165,50)])
A(fia_150_50_6_6_45_0_t_28, L28_0, 38.7, 2.5, 6.6, 45, 9, 1, 12, 0)
R(fia_150_50_6_6_45_0_t_28, L29_0, [(15,0,165,50)])
R(fia_150_50_6_6_45_0_t_28, L31_0, [(15,0,165,50)])
R(fia_150_50_6_6_45_0_t_28, L33_0, [(15,0,165,50)])
R(fia_150_50_6_6_45_0_t_28, L34_0, [(15,0,215,50)])
R(fia_150_50_6_6_45_0_t_28, L43_0, [(15,0,165,50)])
R(fia_150_50_6_6_45_0_t_28, L94_0, [(15,0,215,50)])
R(fia_150_50_6_6_45_0_t_28, L108_0, [(15,0,215,50)])
R(fia_150_50_6_6_45_0_t_28, L112_0, [(15,0,215,50)])

c_fia_150_50_6_6_45_0_t_28 = lib.new_cell('FIA_150_50_6_6_45_0_T_28_name')
R(c_fia_150_50_6_6_45_0_t_28, L5_0, [(0,0,50,15)])
R(c_fia_150_50_6_6_45_0_t_28, L27_0, [(0,0,50,15)])
P(c_fia_150_50_6_6_45_0_t_28, L28_0, [(17.5,5.5),(17.5,12.5),(14.5,12.5),(14.5,6.5),(10.5,6.5),(10.5,12.5),(7.5,12.5),(7.5,5.5),(11.5,2.5),(13.5,2.5)],
  [(41.5,5),(39.5,5),(39.5,12.5),(36.5,12.5),(36.5,11.5),(34.5,11.5),(34.5,9.5),(36.5,9.5),(36.5,5),(33.5,5),(33.5,2.5),(41.5,2.5)])
R(c_fia_150_50_6_6_45_0_t_28, L29_0, [(0,0,50,15)])
R(c_fia_150_50_6_6_45_0_t_28, L31_0, [(0,0,50,15)])
R(c_fia_150_50_6_6_45_0_t_28, L33_0, [(0,0,50,15)])
R(c_fia_150_50_6_6_45_0_t_28, L34_0, [(0,0,50,15)])
R(c_fia_150_50_6_6_45_0_t_28, L43_0, [(0,0,50,15)])
R(c_fia_150_50_6_6_45_0_t_28, L94_0, [(0,0,50,15)])
R(c_fia_150_50_6_6_45_0_t_28, L108_0, [(0,0,50,15)])
R(c_fia_150_50_6_6_45_0_t_28, L112_0, [(0,0,50,15)])

fia_150_50_6_6_45_0_t_32 = lib.new_cell('FIA_150_50_6_6_45_0_T_32_T')
R(fia_150_50_6_6_45_0_t_32, L5_0, [(15,0,165,50)])
R(fia_150_50_6_6_45_0_t_32, L27_0, [(15,0,165,50)])
R(fia_150_50_6_6_45_0_t_32, L29_0, [(15,0,165,50)])
R(fia_150_50_6_6_45_0_t_32, L31_0, [(15,0,165,50)])
A(fia_150_50_6_6_45_0_t_32, L32_0, 38.7, 2.5, 6.6, 45, 9, 1, 12, 0)
R(fia_150_50_6_6_45_0_t_32, L33_0, [(15,0,165,50)])
R(fia_150_50_6_6_45_0_t_32, L34_0, [(15,0,215,50)])
R(fia_150_50_6_6_45_0_t_32, L43_0, [(15,0,165,50)])
R(fia_150_50_6_6_45_0_t_32, L94_0, [(15,0,215,50)])
R(fia_150_50_6_6_45_0_t_32, L108_0, [(15,0,215,50)])
R(fia_150_50_6_6_45_0_t_32, L112_0, [(15,0,215,50)])

c_fia_150_50_6_6_45_0_t_32 = lib.new_cell('FIA_150_50_6_6_45_0_T_32_name')
R(c_fia_150_50_6_6_45_0_t_32, L5_0, [(0,0,50,15)])
R(c_fia_150_50_6_6_45_0_t_32, L27_0, [(0,0,50,15)])
R(c_fia_150_50_6_6_45_0_t_32, L29_0, [(0,0,50,15)])
R(c_fia_150_50_6_6_45_0_t_32, L31_0, [(0,0,50,15)])
P(c_fia_150_50_6_6_45_0_t_32, L32_0, [(17.5,5.5),(17.5,12.5),(14.5,12.5),(14.5,6.5),(10.5,6.5),(10.5,12.5),(7.5,12.5),(7.5,5.5),(11.5,2.5),(13.5,2.5)],
  [(42.5,12.5),(32.5,12.5),(32.5,10),(39.5,10),(39.5,8.8),(32.5,8.8),(32.5,6.3),(39.5,6.3),(39.5,5),(32.5,5),(32.5,2.5),(42.5,2.5)])
R(c_fia_150_50_6_6_45_0_t_32, L33_0, [(0,0,50,15)])
R(c_fia_150_50_6_6_45_0_t_32, L34_0, [(0,0,50,15)])
R(c_fia_150_50_6_6_45_0_t_32, L43_0, [(0,0,50,15)])
R(c_fia_150_50_6_6_45_0_t_32, L94_0, [(0,0,50,15)])
R(c_fia_150_50_6_6_45_0_t_32, L108_0, [(0,0,50,15)])
R(c_fia_150_50_6_6_45_0_t_32, L112_0, [(0,0,50,15)])

c_709ahe35ba_fia_50_202407 = lib.new_cell('709AHE35BA_FIA_50_20240708')
c_709ahe35ba_fia_50_202407.add(gdstk.Reference(fia_150_50_6_0_45_0_t_1_, (0,0)))
c_709ahe35ba_fia_50_202407.add(gdstk.Reference(c_fia_150_50_6_0_45_0_t_1_, (0,50), rotation=3*pi/2))
c_709ahe35ba_fia_50_202407.add(gdstk.Reference(fia_150_50_6_6_45_0_t_62, (0,0)))
c_709ahe35ba_fia_50_202407.add(gdstk.Reference(c_fia_150_50_6_6_45_0_t_62, (0,50), rotation=3*pi/2))
c_709ahe35ba_fia_50_202407.add(gdstk.Reference(fia_150_50_6_6_45_0_t_64, (0,0)))
c_709ahe35ba_fia_50_202407.add(gdstk.Reference(c_fia_150_50_6_6_45_0_t_64, (0,50), rotation=3*pi/2))
c_709ahe35ba_fia_50_202407.add(gdstk.Reference(fia_150_50_6_0_45_0_t_91, (215,0)))
c_709ahe35ba_fia_50_202407.add(gdstk.Reference(c_fia_150_50_6_0_45_0_t_91, (215,50), rotation=3*pi/2))
c_709ahe35ba_fia_50_202407.add(gdstk.Reference(fia_150_50_6_0_45_0_m_27, (215,0)))
c_709ahe35ba_fia_50_202407.add(gdstk.Reference(c_fia_150_50_6_0_45_0_m_27, (215,50), rotation=3*pi/2))
c_709ahe35ba_fia_50_202407.add(gdstk.Reference(fia_150_50_6_0_45_0_m_33, (215,0)))
c_709ahe35ba_fia_50_202407.add(gdstk.Reference(c_fia_150_50_6_0_45_0_m_33, (215,50), rotation=3*pi/2))
c_709ahe35ba_fia_50_202407.add(gdstk.Reference(fia_150_50_6_0_45_0_t_2_, (430,0)))
c_709ahe35ba_fia_50_202407.add(gdstk.Reference(c_fia_150_50_6_0_45_0_t_2_, (430,50), rotation=3*pi/2))
c_709ahe35ba_fia_50_202407.add(gdstk.Reference(fia_150_50_6_0_45_0_m_29, (430,0)))
c_709ahe35ba_fia_50_202407.add(gdstk.Reference(c_fia_150_50_6_0_45_0_m_29, (430,50), rotation=3*pi/2))
c_709ahe35ba_fia_50_202407.add(gdstk.Reference(fia_150_50_6_6_45_0_t_63, (430,0)))
c_709ahe35ba_fia_50_202407.add(gdstk.Reference(c_fia_150_50_6_6_45_0_t_63, (430,50), rotation=3*pi/2))
c_709ahe35ba_fia_50_202407.add(gdstk.Reference(fia_150_50_6_0_45_0_m_43, (430,0)))
c_709ahe35ba_fia_50_202407.add(gdstk.Reference(c_fia_150_50_6_0_45_0_m_43, (430,50), rotation=3*pi/2))
c_709ahe35ba_fia_50_202407.add(gdstk.Reference(fia_150_50_6_0_45_0_m_5_, (645,0)))
c_709ahe35ba_fia_50_202407.add(gdstk.Reference(c_fia_150_50_6_0_45_0_m_5_, (645,50), rotation=3*pi/2))
c_709ahe35ba_fia_50_202407.add(gdstk.Reference(fia_150_50_6_0_45_0_m_31, (645,0)))
c_709ahe35ba_fia_50_202407.add(gdstk.Reference(c_fia_150_50_6_0_45_0_m_31, (645,50), rotation=3*pi/2))
c_709ahe35ba_fia_50_202407.add(gdstk.Reference(fia_150_50_6_6_45_0_t_26, (860,0)))
c_709ahe35ba_fia_50_202407.add(gdstk.Reference(c_fia_150_50_6_6_45_0_t_26, (860,50), rotation=3*pi/2))
c_709ahe35ba_fia_50_202407.add(gdstk.Reference(fia_150_50_6_6_45_0_t_30, (860,0)))
c_709ahe35ba_fia_50_202407.add(gdstk.Reference(c_fia_150_50_6_6_45_0_t_30, (860,50), rotation=3*pi/2))
c_709ahe35ba_fia_50_202407.add(gdstk.Reference(fia_150_50_6_6_45_0_t_42, (860,0)))
c_709ahe35ba_fia_50_202407.add(gdstk.Reference(c_fia_150_50_6_6_45_0_t_42, (860,50), rotation=3*pi/2))
c_709ahe35ba_fia_50_202407.add(gdstk.Reference(fia_150_50_6_0_45_0_t_3_, (1075,0)))
c_709ahe35ba_fia_50_202407.add(gdstk.Reference(c_fia_150_50_6_0_45_0_t_3_, (1075,50), rotation=3*pi/2))
c_709ahe35ba_fia_50_202407.add(gdstk.Reference(fia_150_50_6_6_45_0_t_28, (1075,0)))
c_709ahe35ba_fia_50_202407.add(gdstk.Reference(c_fia_150_50_6_6_45_0_t_28, (1075,50), rotation=3*pi/2))
c_709ahe35ba_fia_50_202407.add(gdstk.Reference(fia_150_50_6_6_45_0_t_32, (1075,0)))
c_709ahe35ba_fia_50_202407.add(gdstk.Reference(c_fia_150_50_6_6_45_0_t_32, (1075,50), rotation=3*pi/2))

lib.write_gds('709AHE35BA_FIA_50_20240708.gds')
